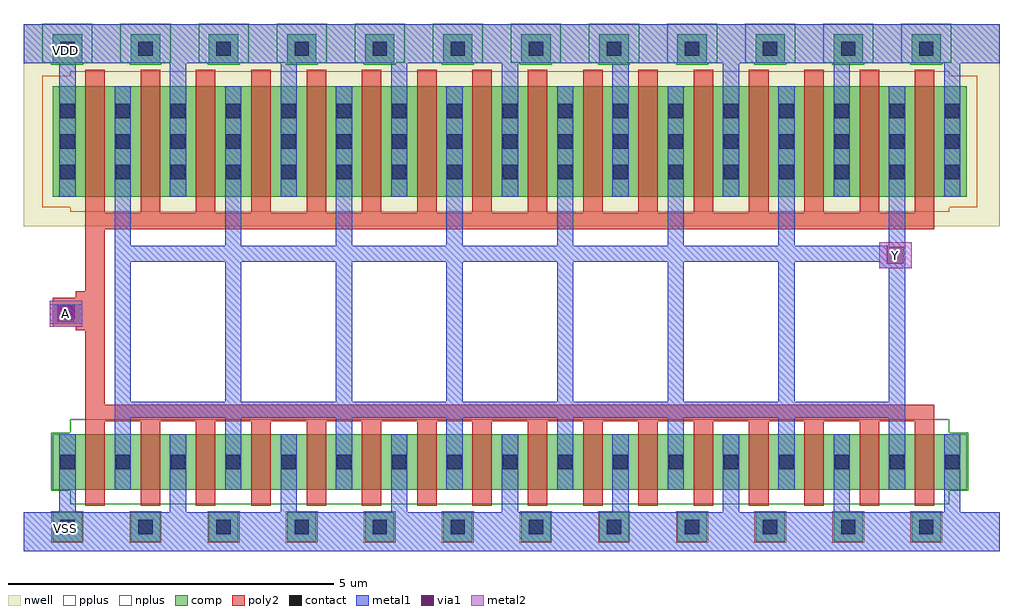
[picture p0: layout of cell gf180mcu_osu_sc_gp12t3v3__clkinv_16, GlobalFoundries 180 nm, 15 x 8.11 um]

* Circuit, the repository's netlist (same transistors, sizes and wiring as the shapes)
* Copyright 2022 Google LLC
*
* Licensed under the Apache License, Version 2.0 (the "License");
* you may not use this file except in compliance with the License.
* You may obtain a copy of the License at
*
*      http://www.apache.org/licenses/LICENSE-2.0
*
* Unless required by applicable law or agreed to in writing, software
* distributed under the License is distributed on an "AS IS" BASIS,
* WITHOUT WARRANTIES OR CONDITIONS OF ANY KIND, either express or implied.
* See the License for the specific language governing permissions and
* limitations under the License.

.inc "/import/yukari1/lrburle/OSU_180/char/techfiles/design.hspice"
.lib "/import/yukari1/lrburle/OSU_180/char/techfiles/sm141064.hspice" typical

.GLOBAL VDD
.GLOBAL VSS

.option scale=0.05u

.subckt gf180mcu_osu_sc_gp12t3v3__clkinv_16 A Y
X0 VDD A Y VDD pmos_3p3 w=34 l=6
X1 Y A VDD VDD pmos_3p3 w=34 l=6
X2 Y A VSS VSS nmos_3p3 w=17 l=6
X3 VDD A Y VDD pmos_3p3 w=34 l=6
X4 Y A VSS VSS nmos_3p3 w=17 l=6
X5 VDD A Y VDD pmos_3p3 w=34 l=6
X6 Y A VDD VDD pmos_3p3 w=34 l=6
X7 Y A VDD VDD pmos_3p3 w=34 l=6
X8 VSS A Y VSS nmos_3p3 w=17 l=6
X9 VDD A Y VDD pmos_3p3 w=34 l=6
X10 VSS A Y VSS nmos_3p3 w=17 l=6
X11 Y A VDD VDD pmos_3p3 w=34 l=6
X12 Y A VSS VSS nmos_3p3 w=17 l=6
X13 Y A VSS VSS nmos_3p3 w=17 l=6
X14 Y A VSS VSS nmos_3p3 w=17 l=6
X15 Y A VSS VSS nmos_3p3 w=17 l=6
X16 VSS A Y VSS nmos_3p3 w=17 l=6
X17 VSS A Y VSS nmos_3p3 w=17 l=6
X18 Y A VSS VSS nmos_3p3 w=17 l=6
X19 Y A VSS VSS nmos_3p3 w=17 l=6
X20 VSS A Y VSS nmos_3p3 w=17 l=6
X21 VDD A Y VDD pmos_3p3 w=34 l=6
X22 Y A VDD VDD pmos_3p3 w=34 l=6
X23 VSS A Y VSS nmos_3p3 w=17 l=6
X24 VSS A Y VSS nmos_3p3 w=17 l=6
X25 VSS A Y VSS nmos_3p3 w=17 l=6
X26 Y A VDD VDD pmos_3p3 w=34 l=6
X27 VDD A Y VDD pmos_3p3 w=34 l=6
X28 Y A VDD VDD pmos_3p3 w=34 l=6
X29 VDD A Y VDD pmos_3p3 w=34 l=6
X30 VDD A Y VDD pmos_3p3 w=34 l=6
X31 Y A VDD VDD pmos_3p3 w=34 l=6
.ends

** hspice subcircuit dictionary

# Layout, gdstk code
import gdstk
lib = gdstk.Library(unit=1e-6, precision=1e-09)
def R(c, l, rs):  # rectangles x0, y0, x1, y1
    for r in rs: c.add(gdstk.rectangle(r[:2], r[2:], *l))
def A(c, l, x, y, w, h, nx, ny, dx, dy):  # array of equal rectangles
    R(c, l, [(x+i*dx, y+j*dy, x+i*dx+w, y+j*dy+h) for i in range(nx) for j in range(ny)])
nwell = (21, 0)
comp = (22, 0)
poly2 = (30, 0)
pplus = (31, 0)
nplus = (32, 0)
contact = (33, 0)
metal1 = (34, 0)
via1 = (35, 0)
metal2 = (36, 0)

gf180mcu_osu_sc_gp12t3v3 = lib.new_cell('gf180mcu_osu_sc_gp12t3v3__clkinv_16')
R(gf180mcu_osu_sc_gp12t3v3, nwell, [(0,5,15,8.1)])
A(gf180mcu_osu_sc_gp12t3v3, comp, 0.45, 0.15, 0.45, 0.45, 12, 2, 1.2, 7.35)
R(gf180mcu_osu_sc_gp12t3v3, comp, [(0.45,0.95,14.5,1.8), (0.45,5.45,14.5,7.15)])
A(gf180mcu_osu_sc_gp12t3v3, poly2, 0.95, 0.7, 0.3, 1.3, 16, 1, 0.85, 0)
A(gf180mcu_osu_sc_gp12t3v3, poly2, 0.95, 5.2, 0.3, 2.2, 16, 1, 0.85, 0)
R(gf180mcu_osu_sc_gp12t3v3, poly2, [(0.95,2,14,2.25), (0.95,2.25,1.25,3.4), (0.8,3.4,1.25,3.45), (0.45,3.45,1.25,3.9), (0.8,3.9,1.25,4), (0.95,4,1.25,4.95), (0.95,4.95,14,5.2)])
A(gf180mcu_osu_sc_gp12t3v3, pplus, 0.43, 0.13, 0.49, 0.49, 12, 1, 1.2, 0)
R(gf180mcu_osu_sc_gp12t3v3, pplus, [(0.72,5.22,14.23,5.29), (0.29,5.29,14.66,7.31), (0.72,7.31,14.23,7.38)])
A(gf180mcu_osu_sc_gp12t3v3, nplus, 0.43, 7.48, 0.49, 0.03, 12, 1, 1.2, 0)
A(gf180mcu_osu_sc_gp12t3v3, nplus, 0.29, 7.51, 0.77, 0.6, 12, 1, 1.2, 0)
R(gf180mcu_osu_sc_gp12t3v3, nplus, [(0.72,0.72,14.23,0.93), (0.43,0.93,14.52,1.82), (0.72,1.82,14.23,2.03)])
A(gf180mcu_osu_sc_gp12t3v3, contact, 0.565, 0.265, 0.22, 0.22, 12, 2, 1.2, 7.35)
A(gf180mcu_osu_sc_gp12t3v3, contact, 0.565, 1.265, 0.22, 0.22, 17, 2, 0.85, 4.455)
A(gf180mcu_osu_sc_gp12t3v3, contact, 0.565, 6.19, 0.22, 0.22, 17, 2, 0.85, 0.47)
R(gf180mcu_osu_sc_gp12t3v3, contact, [(0.565,3.565,0.785,3.785)])
A(gf180mcu_osu_sc_gp12t3v3, metal1, 0.55, 0.6, 0.25, 1.2, 9, 1, 1.7, 0)
A(gf180mcu_osu_sc_gp12t3v3, metal1, 1.4, 0.95, 0.25, 1.1, 8, 1, 1.7, 0)
A(gf180mcu_osu_sc_gp12t3v3, metal1, 1.4, 2.3, 0.25, 2.15, 7, 1, 1.7, 0)
A(gf180mcu_osu_sc_gp12t3v3, metal1, 1.4, 4.7, 0.25, 2.45, 8, 1, 1.7, 0)
A(gf180mcu_osu_sc_gp12t3v3, metal1, 0.55, 5.45, 0.25, 2.05, 9, 1, 1.7, 0)
R(gf180mcu_osu_sc_gp12t3v3, metal1, [(0,0,15,0.6), (1.4,2.05,13.55,2.3), (13.3,2.3,13.55,4.35), (0.4,3.5,0.9,3.8), (13.15,4.35,13.55,4.45), (1.4,4.45,13.55,4.7), (0,7.5,15,8.1)])
R(gf180mcu_osu_sc_gp12t3v3, via1, [(0.52,3.52,0.78,3.78), (13.27,4.42,13.53,4.68)])
R(gf180mcu_osu_sc_gp12t3v3, metal2, [(0.4,3.45,0.9,3.85), (13.15,4.35,13.65,4.75)])
gf180mcu_osu_sc_gp12t3v3.add(gdstk.Label('VDD', (0.65,7.7), layer=34, texttype=0))
gf180mcu_osu_sc_gp12t3v3.add(gdstk.Label('VSS', (0.65,0.35), layer=34, texttype=0))
gf180mcu_osu_sc_gp12t3v3.add(gdstk.Label('A', (0.65,3.65), layer=36, texttype=10))
gf180mcu_osu_sc_gp12t3v3.add(gdstk.Label('Y', (13.4,4.55), layer=36, texttype=10))

lib.write_gds('gf180mcu_osu_sc_gp12t3v3__clkinv_16.gds')
